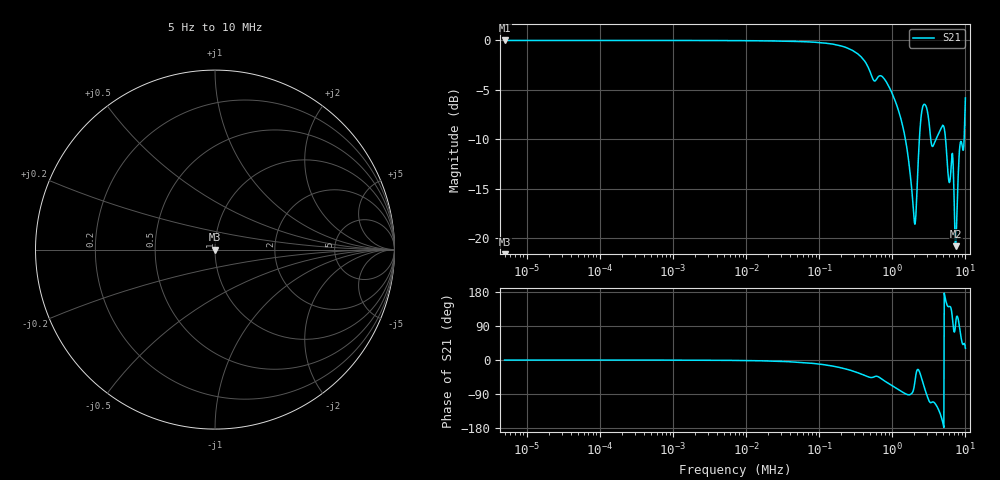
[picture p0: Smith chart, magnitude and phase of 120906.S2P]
!Agilent Technologies,E5061B,MY49204007,A.02.12
!Date: Fri Sep 12 10:15:24 2025
!Data & Calibration Information:
!Freq	S11:SOLT2(OFF)	S21:SOLT2(OFF)	S12:SOLT2(OFF)	S22:SOLT2(OFF)
# Hz S dB R 50
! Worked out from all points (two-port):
!   1041 points, 5 Hz to 10 MHz, reference 50 ohm
!   highest |S21| = -0.04 dB at 5 Hz (marker M1); lowest = -20.8 dB at 7.357 MHz (marker M2)
!   |S21| within 3 dB of the highest: start of sweep to 487.8 kHz
!   lowest |S11| = - dB at 5 Hz (marker M3), VSWR 1.00, Z = 50 + j0 ohm
!   |S11| at or under -10 dB: start of sweep to end of sweep
!   S12 and S22 are empty: the file has one direction only
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5  -200.00 0.0  -0.04 -0.2  -200.00 0.0  -200.00 0.0
56.522  -200.00 0.0  -0.04 -0.2  -200.00 0.0  -200.00 0.0
632.897  -200.00 0.0  -0.04 -0.3  -200.00 0.0  -200.00 0.0
7154.49  -200.00 0.0  -0.06 -1.1  -200.00 0.0  -200.00 0.0
80111.67  -200.00 0.0  -0.21 -8.7  -200.00 0.0  -200.00 0.0
251176.1  -200.00 0.0  -0.85 -25.6  -200.00 0.0  -200.00 0.0
404113.1  -200.00 0.0  -1.97 -39.4  -200.00 0.0  -200.00 0.0
893075.1  -200.00 0.0  -4.65 -62.2  -200.00 0.0  -200.00 0.0
1403723  -200.00 0.0  -8.83 -85.6  -200.00 0.0  -200.00 0.0
1982407  -200.00 0.0  -17.99 -72.8  -200.00 0.0  -200.00 0.0
2141553  -200.00 0.0  -16.46 -31.7  -200.00 0.0  -200.00 0.0
2436971  -200.00 0.0  -8.30 -39.0  -200.00 0.0  -200.00 0.0
2732389  -200.00 0.0  -6.48 -71.5  -200.00 0.0  -200.00 0.0
3135378  -200.00 0.0  -7.92 -104.8  -200.00 0.0  -200.00 0.0
3591133  -200.00 0.0  -10.71 -110.6  -200.00 0.0  -200.00 0.0
4378536  -200.00 0.0  -9.32 -134.8  -200.00 0.0  -200.00 0.0
4947644  -200.00 0.0  -8.62 -168.1  -200.00 0.0  -200.00 0.0
5599234  -200.00 0.0  -11.97 145.8  -200.00 0.0  -200.00 0.0
6557960  -200.00 0.0  -11.58 120.7  -200.00 0.0  -200.00 0.0
7357139  -200.00 0.0  -20.79 96.8  -200.00 0.0  -200.00 0.0
8077920  -200.00 0.0  -12.64 102.0  -200.00 0.0  -200.00 0.0
1e7  -200.00 0.0  -5.84 30.8  -200.00 0.0  -200.00 0.0
